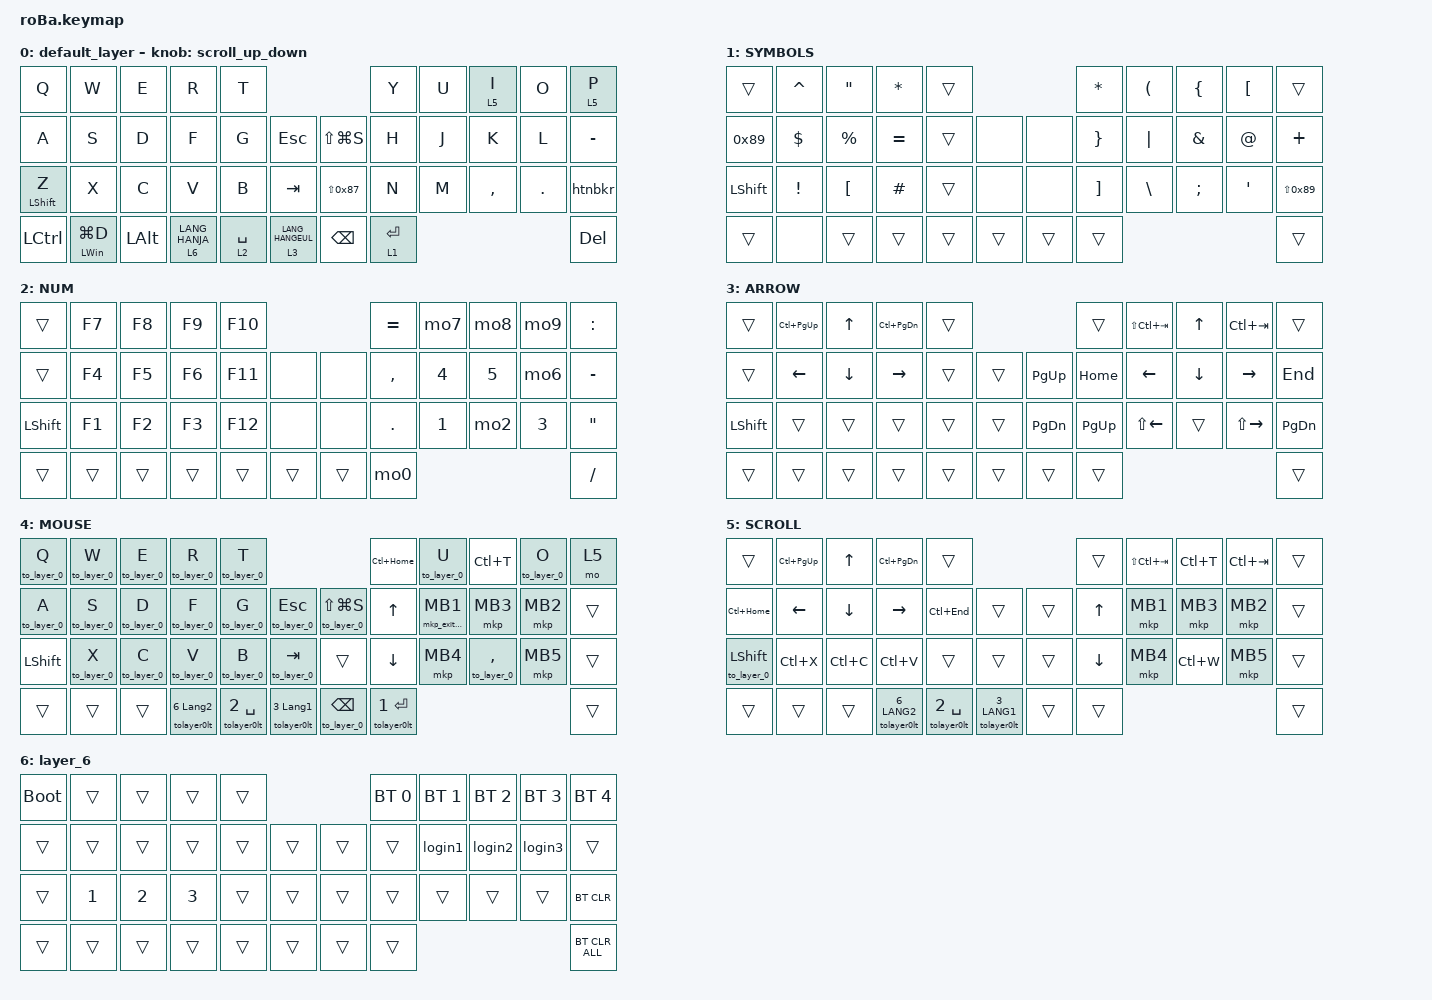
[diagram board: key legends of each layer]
#include <behaviors.dtsi>
#include <dt-bindings/zmk/bt.h>
#include <dt-bindings/zmk/keys.h>
#include <dt-bindings/zmk/pointing.h>

// OS設定を日本語キーボードのまま使用するための変換定義

#define JP_DQUOTE       AT                // "
#define JP_AMPERSAND    CARET             // &
#define JP_QUOTE        AMPERSAND         // '
#define JP_EQUAL        UNDER             // =
#define JP_CARET        EQUAL             // ^
#define JP_YEN          0x89              // ¥
#define JP_PLUS         COLON             // +
#define JP_TILDE        PLUS              // ~
#define JP_PIPE         LS(0x89)          // |
#define JP_AT           LEFT_BRACKET      // @
#define JP_COLON        SINGLE_QUOTE      // :
#define JP_ASTERISK     DOUBLE_QUOTES     // *
#define JP_BACKQUOTE    LEFT_BRACE        // `
#define JP_UNDERSCORE   LS(0x87)          // _
#define JP_LBRACKET     RIGHT_BRACKET     // [
#define JP_RBRACKET     BACKSLASH         // ]
#define JP_LPAREN       ASTERISK          // (
#define JP_RPAREN       LEFT_PARENTHESIS  // )
#define JP_LBRACE       RIGHT_BRACE       // {
#define JP_RBRACE       PIPE              // }
#define JP_KANA         LANGUAGE_1        // かな
#define JP_EISU         LANGUAGE_2        // 英数
#define JP_HANZEN       GRAVE             // 半角/全角
#define ZMK_POINTING_DEFAULT_SCRL_VAL 100
#define MOUSE 4
#define SCROLL 5
#define NUM 6

&mt {
    flavor = "hold-preferred";
    quick-tap-ms = <0>;
    hold-while-undecided;
};

&sl { release-after-ms = <250>; };

&lt { hold-while-undecided; };

/ {
    combos {
        compatible = "zmk,combos";

        BT0 {
            bindings = <&bt BT_SEL 0>;
            key-positions = <28 22>;
        };

        BT1 {
            bindings = <&bt BT_SEL 1>;
            key-positions = <28 23>;
        };

        BT2 {
            bindings = <&bt BT_SEL 2>;
            key-positions = <28 24>;
        };

        BT3 {
            bindings = <&bt BT_SEL 3>;
            key-positions = <28 25>;
        };

        wintab {
            bindings = <&kp LG(TAB)>;
            key-positions = <18 19>;
            layers = <1>;
        };

        tab {
            bindings = <&kp TAB>;
            key-positions = <10 11>;
            layers = <0>;
        };
    };

    macros {
        to_layer_0: to_layer_0mouse {
            compatible = "zmk,behavior-macro-one-param";
            #binding-cells = <1>;
            bindings = <&to 0 &macro_param_1to1 &kp MACRO_PLACEHOLDER>;
            label = "TO_LAYER_0MOUSE";
            wait-ms = <0>;
        };

        mkp_exit_AML: mkp_exit_AML {
            compatible = "zmk,behavior-macro-one-param";
            #binding-cells = <1>;
            bindings =
                <&macro_press>,
                <&macro_param_1to1 &mkp MACRO_PLACEHOLDER>,
                <&macro_pause_for_release>,
                <&macro_release>,
                <&macro_param_1to1 &mkp MACRO_PLACEHOLDER>,
                <&macro_tap>,
                <&sl 4>;

            label = "MKP_EXIT_AML";
        };

        parenthesis: parenthesis {
            compatible = "zmk,behavior-macro";
            #binding-cells = <0>;
            bindings = <&kp ASTERISK &kp LEFT_PARENTHESIS &kp LEFT_ARROW>;
            label = "parenthesis";
        };

        tolayer0lt: tolayer0 {
            compatible = "zmk,behavior-macro-two-param";
            #binding-cells = <2>;
            bindings = <&to 0 &macro_param_1to1 &macro_param_2to2 &lt MACRO_PLACEHOLDER MACRO_PLACEHOLDER>;
            label = "TOLAYER0";
            wait-ms = <0>;
        };

        tolayer0mt: tolayer0mt {
            compatible = "zmk,behavior-macro-two-param";
            #binding-cells = <2>;
            bindings = <&to 0 &macro_param_1to1 &macro_param_2to2 &mt MACRO_PLACEHOLDER MACRO_PLACEHOLDER>;
            label = "TOLAYER0MT";
            wait-ms = <0>;
        };

        login2: pclogin {
            compatible = "zmk,behavior-macro";
            #binding-cells = <0>;
            bindings = <&kp N &kp NUMBER_1 &kp NUMBER_5 &kp NUMBER_0 &kp NUMBER_3 &kp NUMBER_4 &kp NUMBER_5>;
            label = "PCLOGIN";
        };

        login3: loginpw {
            compatible = "zmk,behavior-macro";
            #binding-cells = <0>;
            bindings = <&kp LS(W) &kp W &kp H &kp O &kp W &kp A &kp I &kp T &kp O &kp NUMBER_1>;
            label = "LOGINPW";
        };

        login1: login1 {
            compatible = "zmk,behavior-macro";
            #binding-cells = <0>;
            bindings = <&kp LA(LC(DELETE))>;
            label = "LOGIN1";
        };

        excelkeisen: excelkeisen {
            compatible = "zmk,behavior-macro";
            #binding-cells = <0>;
            bindings = <&kp LEFT_ALT &kp H &kp B>;
            label = "EXCELKEISEN";
        };

        mo2: mo2 {
            compatible = "zmk,behavior-mod-morph";
            #binding-cells = <0>;
            bindings = <&kp N2>, <&kp AT>;

            mods = <(MOD_LSFT|MOD_RSFT)>;
        };

        mo6: mo6 {
            compatible = "zmk,behavior-mod-morph";
            #binding-cells = <0>;
            bindings = <&kp N6>, <&kp CARET>;

            mods = <(MOD_LSFT|MOD_RSFT)>;
        };

        mo7: mo7 {
            compatible = "zmk,behavior-mod-morph";
            #binding-cells = <0>;
            bindings = <&kp N7>, <&kp AMPS>;

            mods = <(MOD_LSFT|MOD_RSFT)>;
        };

        mo8: mo8 {
            compatible = "zmk,behavior-mod-morph";
            #binding-cells = <0>;
            bindings = <&kp N8>, <&kp ASTRK>;

            mods = <(MOD_LSFT|MOD_RSFT)>;
        };

        mo9: mo9 {
            compatible = "zmk,behavior-mod-morph";
            #binding-cells = <0>;
            bindings = <&kp N9>, <&kp LPAR>;

            mods = <(MOD_LSFT|MOD_RSFT)>;
        };

        mo0: mo0 {
            compatible = "zmk,behavior-mod-morph";
            #binding-cells = <0>;
            bindings = <&kp N0>, <&kp LS(N9)>;

            mods = <(MOD_LSFT|MOD_RSFT)>;
        };

        moA: moA {
            compatible = "zmk,behavior-mod-morph";
            #binding-cells = <0>;
            bindings = <&kp MINUS>, <&kp UNDERSCORE>;

            mods = <(MOD_LSFT|MOD_RSFT)>;
        };

        moB: moB {
            compatible = "zmk,behavior-mod-morph";
            #binding-cells = <0>;
            bindings = <&kp EQUAL>, <&kp PLUS>;

            mods = <(MOD_LSFT|MOD_RSFT)>;
        };

        moC: moC {
            compatible = "zmk,behavior-mod-morph";
            #binding-cells = <0>;
            bindings = <&kp INT3>, <&kp LS(0x89)>;

            mods = <(MOD_LSFT|MOD_RSFT)>;
        };

        moD: moD {
            compatible = "zmk,behavior-mod-morph";
            #binding-cells = <0>;
            bindings = <&kp LBKT>, <&kp LBRC>;

            mods = <(MOD_LSFT|MOD_RSFT)>;
        };

        moE: moE {
            compatible = "zmk,behavior-mod-morph";
            #binding-cells = <0>;
            bindings = <&kp RBKT>, <&kp RBRC>;

            mods = <(MOD_LSFT|MOD_RSFT)>;
        };

        moF: moF {
            compatible = "zmk,behavior-mod-morph";
            #binding-cells = <0>;
            bindings = <&kp SEMI>, <&kp KP_PLUS>;

            mods = <(MOD_LSFT|MOD_RSFT)>;
        };

        moG: moG {
            compatible = "zmk,behavior-mod-morph";
            #binding-cells = <0>;
            bindings = <&kp APOSTROPHE>, <&kp DQT>;

            mods = <(MOD_LSFT|MOD_RSFT)>;
        };

        moH: moH {
            compatible = "zmk,behavior-mod-morph";
            #binding-cells = <0>;
            bindings = <&kp BACKSLASH>, <&kp TILDE2>;

            mods = <(MOD_LSFT|MOD_RSFT)>;
        };

        tolayer0mo: tolayer0mo {
            compatible = "zmk,behavior-macro-one-param";
            #binding-cells = <1>;
            bindings = <&to 0 &macro_param_1to1 &mo MACRO_PLACEHOLDER>;
            label = "TOLAYER0MO";
            wait-ms = <0>;
        };
    };

    behaviors {
        scroll_up_down: behavior_sensor_rotate_mouse_wheel_up_down {
            compatible = "zmk,behavior-sensor-rotate";
            #sensor-binding-cells = <0>;
            bindings = <&msc SCRL_DOWN>, <&msc SCRL_UP>;

            // 追加: スクロールのタップ時間を設定 (20ms)

            tap-ms = <20>;
        };

        nonesc: nonesc {
            compatible = "zmk,behavior-mod-morph";
            label = "NONESC";
            bindings = <&none>, <&kp ESCAPE>;

            #binding-cells = <0>;
            mods = <(MOD_LCTL|MOD_RCTL)>;
        };

        htnbkr: htnbkr {
            compatible = "zmk,behavior-mod-morph";
            label = "HTNBKR";
            bindings = <&mt LSHFT QUESTION>, <&kp EXCLAMATION>;

            #binding-cells = <0>;
            mods = <(MOD_LSFT|MOD_RSFT)>;
        };

        multi_tap_tab_bspc: behavior_multi_tap {
            label = "MT_TAB_BSPC";
            #binding-cells = <0>;
            bindings = <&kp TAB>, <&kp BSPC>;

            max-taps = <2>;
            max-tap-interrupt-ms = <250>;
        };
    };

    keymap {
        compatible = "zmk,keymap";

        default_layer {
            bindings = <
&kp Q             &kp W               &kp E         &kp R             &kp T                                               &kp Y        &kp U  &lt 5 I    &kp O    &lt 5 P
&kp A             &kp S               &kp D         &kp F             &kp G        &kp ESCAPE              &kp LS(LG(S))  &kp H        &kp J  &kp K      &kp L    &kp MINUS
&mt LEFT_SHIFT Z  &kp X               &kp C         &kp V             &kp B        &kp TAB                 &kp LS(0x87)   &kp N        &kp M  &kp COMMA  &kp DOT  &htnbkr
&kp LCTRL         &mt LEFT_WIN LG(D)  &kp LEFT_ALT  &lt 6 LANG_HANJA  &lt 2 SPACE  &lt 3 LANG_HANGEUL      &kp BACKSPACE  &lt 1 ENTER                             &kp DEL
            >;

            sensor-bindings = <&scroll_up_down>;
        };

        SYMBOLS {
            bindings = <
&trans          &kp CARET        &kp DOUBLE_QUOTES  &kp ASTERISK  &trans                      &kp ASTERISK       &kp LEFT_PARENTHESIS  &kp LEFT_BRACE  &kp LEFT_BRACKET  &trans
&kp 0x89        &kp DOLLAR       &kp PERCENT        &kp EQUAL     &trans  &none       &none   &kp RIGHT_BRACE    &kp PIPE              &kp AMPERSAND   &kp AT            &kp PLUS
&kp LEFT_SHIFT  &kp EXCLAMATION  &kp LEFT_BRACKET   &kp HASH      &trans  &none       &none   &kp RIGHT_BRACKET  &kp BACKSLASH         &kp SEMICOLON   &kp SINGLE_QUOTE  &kp JP_PIPE
&trans          &none            &trans             &trans        &trans  &trans      &trans  &trans                                                                     &trans
            >;
        };

        NUM {
            bindings = <
&trans          &kp F7  &kp F8  &kp F9  &kp F10                      &kp EQUAL   &mo7          &mo8          &mo9          &kp COLON
&trans          &kp F4  &kp F5  &kp F6  &kp F11  &none       &none   &kp COMMA   &kp NUMBER_4  &kp NUMBER_5  &mo6          &kp MINUS
&kp LEFT_SHIFT  &kp F1  &kp F2  &kp F3  &kp F12  &none       &none   &kp PERIOD  &kp NUMBER_1  &mo2          &kp NUMBER_3  &kp DOUBLE_QUOTES
&trans          &trans  &trans  &trans  &trans   &trans      &trans  &mo0                                                  &kp SLASH
            >;
        };

        ARROW {
            bindings = <
&trans          &kp LC(PG_UP)   &kp UP_ARROW    &kp LC(PG_DN)    &trans                             &trans       &kp LS(LC(TAB))     &kp UP_ARROW    &kp LC(TAB)          &trans
&trans          &kp LEFT_ARROW  &kp DOWN_ARROW  &kp RIGHT_ARROW  &trans  &trans      &kp PG_UP      &kp HOME     &kp LEFT_ARROW      &kp DOWN_ARROW  &kp RIGHT_ARROW      &kp END
&kp LEFT_SHIFT  &trans          &trans          &trans           &trans  &trans      &kp PAGE_DOWN  &kp PAGE_UP  &kp LS(LEFT_ARROW)  &trans          &kp LS(RIGHT_ARROW)  &kp PAGE_DOWN
&trans          &trans          &trans          &trans           &trans  &trans      &trans         &trans                                                                &trans
            >;
        };

        MOUSE {
            bindings = <
&to_layer_0 Q   &to_layer_0 W  &to_layer_0 E  &to_layer_0 R             &to_layer_0 T                                                             &kp LC(HOME)         &to_layer_0 U      &kp LC(T)          &to_layer_0 O  &mo 5
&to_layer_0 A   &to_layer_0 S  &to_layer_0 D  &to_layer_0 F             &to_layer_0 G        &to_layer_0 ESCAPE            &to_layer_0 LS(LG(S))  &kp UP_ARROW         &mkp_exit_AML MB1  &mkp MB3           &mkp MB2       &trans
&kp LEFT_SHIFT  &to_layer_0 X  &to_layer_0 C  &to_layer_0 V             &to_layer_0 B        &to_layer_0 TAB               &trans                 &kp DOWN_ARROW       &mkp MB4           &to_layer_0 COMMA  &mkp MB5       &trans
&trans          &trans         &trans         &tolayer0lt 6 LANGUAGE_2  &tolayer0lt 2 SPACE  &tolayer0lt 3 LANGUAGE_1      &to_layer_0 BACKSPACE  &tolayer0lt 1 ENTER                                                       &trans
            >;
        };

        SCROLL {
            bindings = <
&trans                  &kp LC(PG_UP)   &kp UP_ARROW    &kp LC(PG_DN)        &trans                                                &trans          &kp LS(LC(TAB))  &kp LC(T)  &kp LC(TAB)  &trans
&kp LC(HOME)            &kp LEFT_ARROW  &kp DOWN_ARROW  &kp RIGHT_ARROW      &kp LC(END)          &trans                   &trans  &kp UP_ARROW    &mkp MB1         &mkp MB3   &mkp MB2     &trans
&to_layer_0 LEFT_SHIFT  &kp LC(X)       &kp LC(C)       &kp LC(V)            &trans               &trans                   &trans  &kp DOWN_ARROW  &mkp MB4         &kp LC(W)  &mkp MB5     &trans
&trans                  &trans          &trans          &tolayer0lt 6 LANG2  &tolayer0lt 2 SPACE  &tolayer0lt 3 LANG1      &trans  &trans                                                   &trans
            >;
        };

        layer_6 {
            bindings = <
&bootloader  &trans        &trans        &trans        &trans                      &bt BT_SEL 0  &bt BT_SEL 1  &bt BT_SEL 2  &bt BT_SEL 3  &bt BT_SEL 4
&trans       &trans        &trans        &trans        &trans  &trans      &trans  &trans        &login1       &login2       &login3       &trans
&trans       &kp NUMBER_1  &kp NUMBER_2  &kp NUMBER_3  &trans  &trans      &trans  &trans        &trans        &trans        &trans        &bt BT_CLR
&trans       &trans        &trans        &trans        &trans  &trans      &trans  &trans                                                  &bt BT_CLR_ALL
            >;
        };
    };
};
